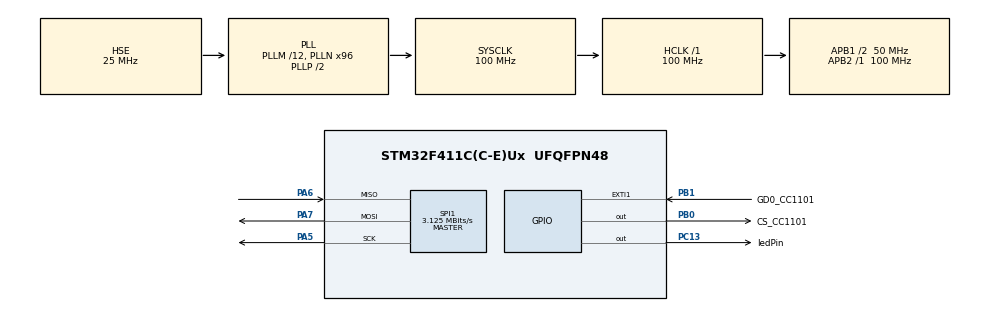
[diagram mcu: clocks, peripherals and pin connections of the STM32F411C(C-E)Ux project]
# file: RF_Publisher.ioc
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Mcu.Family=STM32F4
Mcu.Name=STM32F411C(C-E)Ux
Mcu.Package=UFQFPN48
NVIC.PriorityGroup=NVIC_PRIORITYGROUP_4
PA13.Mode=Serial_Wire
PA13.Signal=SYS_JTMS-SWDIO
PA14.Mode=Serial_Wire
PA14.Signal=SYS_JTCK-SWCLK
PA5.Mode=Full_Duplex_Master
PA5.Signal=SPI1_SCK
PA6.Mode=Full_Duplex_Master
PA6.Signal=SPI1_MISO
PA7.Mode=Full_Duplex_Master
PA7.Signal=SPI1_MOSI
PB0.GPIO_Label=CS_CC1101
PB0.Signal=GPIO_Output
PB1.GPIO_Label=GD0_CC1101
PB1.Signal=GPXTI1
PC13-ANTI_TAMP.GPIO_Label=ledPin
PC13-ANTI_TAMP.Signal=GPIO_Output
PH0\ -\ OSC_IN.Mode=HSE-External-Oscillator
PH0\ -\ OSC_IN.Signal=RCC_OSC_IN
PH1\ -\ OSC_OUT.Mode=HSE-External-Oscillator
PH1\ -\ OSC_OUT.Signal=RCC_OSC_OUT
ProjectManager.HeapSize=0x200
ProjectManager.StackSize=0x400
ProjectManager.TargetToolchain=CMake
RCC.48MHZClocksFreq_Value=50000000
RCC.AHBFreq_Value=100000000
RCC.APB1CLKDivider=RCC_HCLK_DIV2
RCC.APB1Freq_Value=50000000
RCC.APB1TimFreq_Value=100000000
RCC.APB2Freq_Value=100000000
RCC.APB2TimFreq_Value=100000000
RCC.CortexFreq_Value=100000000
RCC.HCLKFreq_Value=100000000
RCC.HSE_VALUE=25000000
RCC.HSI_VALUE=16000000
RCC.LSE_VALUE=32768
RCC.PLLM=12
RCC.PLLN=96
RCC.PLLSourceVirtual=RCC_PLLSOURCE_HSE
RCC.SYSCLKFreq_VALUE=100000000
RCC.SYSCLKSource=RCC_SYSCLKSOURCE_PLLCLK
RCC.VCOOutputFreq_Value=200000000
SPI1.BaudRatePrescaler=SPI_BAUDRATEPRESCALER_32
SPI1.CalculateBaudRate=3.125 MBits/s
SPI1.Direction=SPI_DIRECTION_2LINES
SPI1.Mode=SPI_MODE_MASTER
SPI1.VirtualType=VM_MASTER
board=custom

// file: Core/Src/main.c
/* USER CODE BEGIN Header */
/**
  ******************************************************************************
  * @file           : main.c
  * @brief          : Main program body
  ******************************************************************************
  * @attention
  *
  * Copyright (c) 2026 STMicroelectronics.
  * All rights reserved.
  *
  * This software is licensed under terms that can be found in the LICENSE file
  * in the root directory of this software component.
  * If no LICENSE file comes with this software, it is provided AS-IS.
  *
  ******************************************************************************
  */
/* USER CODE END Header */
#include "main.h"

/* USER CODE BEGIN Includes */
#include "cc1101.h"
#include "stm32f4xx.h"
#include "stm32f4xx_hal.h"
#include "stm32f4xx_hal_gpio.h"
#include <stdint.h>
/* USER CODE END Includes */

SPI_HandleTypeDef hspi1;

/* USER CODE BEGIN PV */
uint8_t CC1101_Version;
uint8_t CC1101_PartNum;
uint8_t tx_counter = 0;
uint8_t marcstate = 0;
volatile uint8_t button_pressed = 0;
/* USER CODE END PV */

void SystemClock_Config(void);
static void MX_GPIO_Init(void);
static void MX_SPI1_Init(void);

/* USER CODE BEGIN 0 */
// must put here so spi is in scope for the cc1101 struct initializer
CC1101_t cc1101 = {
    .hspi = &hspi1,
    .csPort = CS_CC1101_GPIO_Port,
    .csPin = CS_CC1101_Pin,
    .gdo0Port = GD0_CC1101_GPIO_Port,
    .gdo0Pin = GD0_CC1101_Pin
};
/* USER CODE END 0 */

int main(void)
{

  /* MCU Configuration--------------------------------------------------------*/

  /* Reset of all peripherals, Initializes the Flash interface and the Systick. */
  HAL_Init();

  /* Configure the system clock */
  SystemClock_Config();

  /* Initialize all configured peripherals */
  MX_GPIO_Init();
  MX_SPI1_Init();
  /* USER CODE BEGIN 2 */
  if (!CC1101_Init(&cc1101)) {
      // Initialization failed, handle error (e.g., blink LED rapidly)
      while (1) {
          HAL_GPIO_TogglePin(ledPin_GPIO_Port, ledPin_Pin);
          HAL_Delay(50);
      }
  }
  CC1101_Version = CC1101_ReadReg(&cc1101, CC1101_VERSION);
  CC1101_PartNum = CC1101_ReadReg(&cc1101, CC1101_PARTNUM);
  CC1101_SetMaxPower(&cc1101); // Set max power for testing (limited for 433MHz)
  /* USER CODE END 2 */

  /* Infinite loop */
  /* USER CODE BEGIN WHILE */
  uint32_t last_heartbeat = 0;
  uint32_t last_packet_time = 0;
  while (1)
  {
    if (HAL_GetTick() - last_heartbeat > 1000)
    {
        HAL_GPIO_TogglePin(ledPin_GPIO_Port, ledPin_Pin);
        last_heartbeat = HAL_GetTick();
    }
    if (HAL_GetTick() - last_packet_time > 1000)
    {
      CC1101_SendPacket(&cc1101, &tx_counter, sizeof(tx_counter));
      tx_counter++;
      last_packet_time = HAL_GetTick();
    }

  }
    /* USER CODE END WHILE */

}

void SystemClock_Config(void)
{
  RCC_OscInitTypeDef RCC_OscInitStruct = {0};
  RCC_ClkInitTypeDef RCC_ClkInitStruct = {0};

  /** Configure the main internal regulator output voltage
  */
  __HAL_RCC_PWR_CLK_ENABLE();
  __HAL_PWR_VOLTAGESCALING_CONFIG(PWR_REGULATOR_VOLTAGE_SCALE1);

  /** Initializes the RCC Oscillators according to the specified parameters
  * in the RCC_OscInitTypeDef structure.
  */
  RCC_OscInitStruct.OscillatorType = RCC_OSCILLATORTYPE_HSE;
  RCC_OscInitStruct.HSEState = RCC_HSE_ON;
  RCC_OscInitStruct.PLL.PLLState = RCC_PLL_ON;
  RCC_OscInitStruct.PLL.PLLSource = RCC_PLLSOURCE_HSE;
  RCC_OscInitStruct.PLL.PLLM = 12;
  RCC_OscInitStruct.PLL.PLLN = 96;
  RCC_OscInitStruct.PLL.PLLP = RCC_PLLP_DIV2;
  RCC_OscInitStruct.PLL.PLLQ = 4;
  if (HAL_RCC_OscConfig(&RCC_OscInitStruct) != HAL_OK)
  {
    Error_Handler();
  }

  /** Initializes the CPU, AHB and APB buses clocks
  */
  RCC_ClkInitStruct.ClockType = RCC_CLOCKTYPE_HCLK|RCC_CLOCKTYPE_SYSCLK
                              |RCC_CLOCKTYPE_PCLK1|RCC_CLOCKTYPE_PCLK2;
  RCC_ClkInitStruct.SYSCLKSource = RCC_SYSCLKSOURCE_PLLCLK;
  RCC_ClkInitStruct.AHBCLKDivider = RCC_SYSCLK_DIV1;
  RCC_ClkInitStruct.APB1CLKDivider = RCC_HCLK_DIV2;
  RCC_ClkInitStruct.APB2CLKDivider = RCC_HCLK_DIV1;

  if (HAL_RCC_ClockConfig(&RCC_ClkInitStruct, FLASH_LATENCY_3) != HAL_OK)
  {
    Error_Handler();
  }
}

static void MX_SPI1_Init(void)
{

  /* SPI1 parameter configuration*/
  hspi1.Instance = SPI1;
  hspi1.Init.Mode = SPI_MODE_MASTER;
  hspi1.Init.Direction = SPI_DIRECTION_2LINES;
  hspi1.Init.DataSize = SPI_DATASIZE_8BIT;
  hspi1.Init.CLKPolarity = SPI_POLARITY_LOW;
  hspi1.Init.CLKPhase = SPI_PHASE_1EDGE;
  hspi1.Init.NSS = SPI_NSS_SOFT;
  hspi1.Init.BaudRatePrescaler = SPI_BAUDRATEPRESCALER_32;
  hspi1.Init.FirstBit = SPI_FIRSTBIT_MSB;
  hspi1.Init.TIMode = SPI_TIMODE_DISABLE;
  hspi1.Init.CRCCalculation = SPI_CRCCALCULATION_DISABLE;
  hspi1.Init.CRCPolynomial = 10;
  if (HAL_SPI_Init(&hspi1) != HAL_OK)
  {
    Error_Handler();
  }

}

static void MX_GPIO_Init(void)
{
  GPIO_InitTypeDef GPIO_InitStruct = {0};

  /* GPIO Ports Clock Enable */
  __HAL_RCC_GPIOC_CLK_ENABLE();
  __HAL_RCC_GPIOH_CLK_ENABLE();
  __HAL_RCC_GPIOA_CLK_ENABLE();
  __HAL_RCC_GPIOB_CLK_ENABLE();

  /*Configure GPIO pin Output Level */
  HAL_GPIO_WritePin(ledPin_GPIO_Port, ledPin_Pin, GPIO_PIN_RESET);

  /*Configure GPIO pin Output Level */
  HAL_GPIO_WritePin(CS_CC1101_GPIO_Port, CS_CC1101_Pin, GPIO_PIN_RESET);

  /*Configure GPIO pin : ledPin_Pin */
  GPIO_InitStruct.Pin = ledPin_Pin;
  GPIO_InitStruct.Mode = GPIO_MODE_OUTPUT_PP;
  GPIO_InitStruct.Pull = GPIO_NOPULL;
  GPIO_InitStruct.Speed = GPIO_SPEED_FREQ_LOW;
  HAL_GPIO_Init(ledPin_GPIO_Port, &GPIO_InitStruct);

  /*Configure GPIO pin : CS_CC1101_Pin */
  GPIO_InitStruct.Pin = CS_CC1101_Pin;
  GPIO_InitStruct.Mode = GPIO_MODE_OUTPUT_PP;
  GPIO_InitStruct.Pull = GPIO_NOPULL;
  GPIO_InitStruct.Speed = GPIO_SPEED_FREQ_LOW;
  HAL_GPIO_Init(CS_CC1101_GPIO_Port, &GPIO_InitStruct);

  /*Configure GPIO pin : GD0_CC1101_Pin */
  GPIO_InitStruct.Pin = GD0_CC1101_Pin;
  GPIO_InitStruct.Mode = GPIO_MODE_IT_RISING;
  GPIO_InitStruct.Pull = GPIO_NOPULL;
  HAL_GPIO_Init(GD0_CC1101_GPIO_Port, &GPIO_InitStruct);

}

void Error_Handler(void)
{
  __disable_irq();
  while (1)
  {
  }
}
